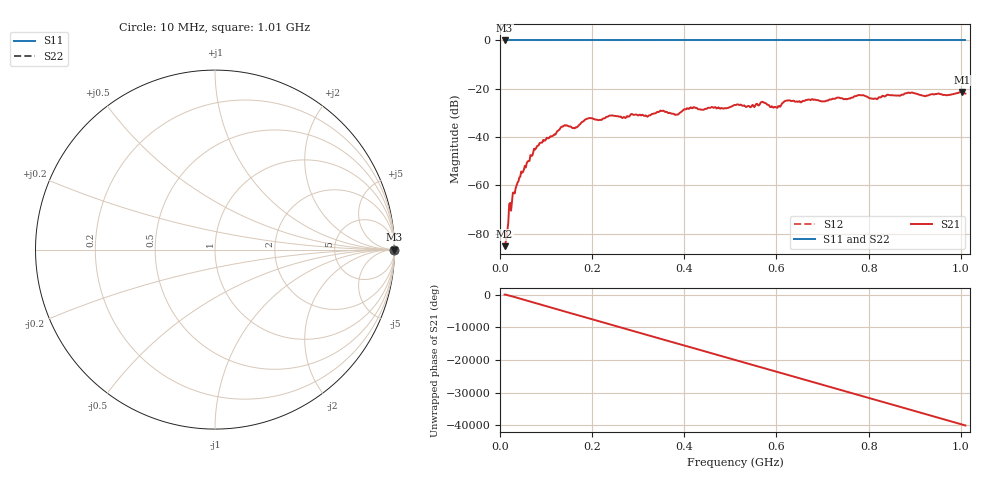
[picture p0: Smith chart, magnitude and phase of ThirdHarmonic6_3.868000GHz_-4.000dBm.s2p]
! 8/17/2025 1:31:57 PM
! C:\ANRITSUVNA\TEMP\TEMP.S2P
! CHANNEL.1
! TR.MEASUREMENT
! RAW.DATA
! RF.CORRECTION.OFF
! AVERAGING.OFF
! IF.BANDWIDTH: 5KHZ
! SWEEPTYPE:  FREQ.SWEEP(Linear)
! Reference Plane Port Info
! PORT:  PORT1  PORT2
! DISTANCE:  0  m  0  m
! TIME:  0  s  0  s
! PHASE.OFFSET:  0  deg.  0  deg.
! LOSS:  0  dB  0  dB
! REF.LOSS:  0  dB  0  dB
! REF.FREQ:  0  Hz  0  Hz
! Power Info
! POWER:  -20  dBm  -20  dBm
! EFF.POWER:  -20  dBm  -20  dBm
! SOURCE.ATTEN:  0  dB  0  dB
! TEST.ATTEN:  0  dB  0  dB
# GHZ S RI R 50.0
! FREQ.GHZ  S11RE  S11IM  S21RE  S21IM  S12RE  S12IM  S22RE  S22IM
!; PortSelection: Port_12
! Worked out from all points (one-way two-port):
!   501 points, 10 MHz to 1.01 GHz, reference 50 ohm
!   highest |S21| = -21.31 dB at 1.002 GHz (marker M1); lowest = -85.1 dB at 10 MHz (marker M2)
!   lowest |S11| = 0.0 dB at 10 MHz (marker M3)
!   |S11| at or under -10 dB: nowhere
!   |S22| runs from 0.0 to 0.0 dB; largest |S21 - S12| = 1.1
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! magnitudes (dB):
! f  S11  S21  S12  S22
! 10 MHz  0.0  -85.1  0.0  0.0
! 14 MHz  0.0  -81.3  0.0  0.0
! 24 MHz  0.0  -70.4  0.0  0.0
! 32 MHz  0.0  -63.3  0.0  0.0
! 50 MHz  0.0  -54.4  0.0  0.0
! 78 MHz  0.0  -44.7  0.0  0.0
! 136 MHz  0.0  -35.7  0.0  0.0
! 162 MHz  0.0  -36.4  0.0  0.0
! 178 MHz  0.0  -33.7  0.0  0.0
! 194 MHz  0.0  -32.1  0.0  0.0
! 322 MHz  0.0  -31.2  0.0  0.0
! 344 MHz  0.0  -29.6  0.0  0.0
! 384 MHz  0.0  -30.7  0.0  0.0
! 416 MHz  0.0  -28.0  0.0  0.0
! 510 MHz  0.0  -26.7  0.0  0.0
! 570 MHz  0.0  -25.4  0.0  0.0
! 598 MHz  0.0  -27.6  0.0  0.0
! 622 MHz  0.0  -24.8  0.0  0.0
! 678 MHz  0.0  -24.3  0.0  0.0
! 844 MHz  0.0  -22.6  0.0  0.0
! 1.002 GHz  0.0  -21.3  0.0  0.0
! 1.01 GHz  0.0  -22.0  0.0  0.0
